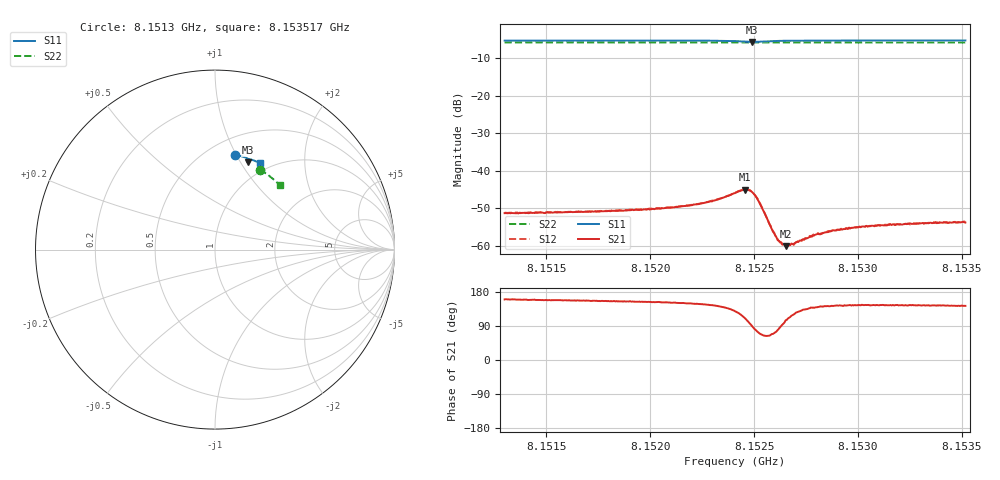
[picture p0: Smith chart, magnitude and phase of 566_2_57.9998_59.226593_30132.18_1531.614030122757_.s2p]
#  HZ  S  RI  R  50.00
! Rohde & Schwarz Vector Network Analyzer
! Rohde-Schwarz,ZNB20-2Port,1311601062101988,3.16
! Created: UTC 3/21/2024, 1:15:43 AM
! freq[Hz]  re:S11  im:S11  re:S21  im:S21  re:S12  im:S12  re:S22  im:S22
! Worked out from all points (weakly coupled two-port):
!   401 points, 8.1513 GHz to 8.153517 GHz, reference 50 ohm
!   highest |S21| = -45.00 dB at 8.152458 GHz (marker M1); lowest = -60.0 dB at 8.152652 GHz (marker M2)
!   lowest |S11| = -5.7 dB at 8.152492 GHz (marker M3), VSWR 3.16, Z = 40.4 + j53.7 ohm
!   |S11| at or under -10 dB: nowhere
!   |S22| runs from -5.9 to -5.8 dB; largest |S21 - S12| = 0.00014
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8.1513003e9  0.1107 0.5282  -0.00257 0.000943  -0.00259 0.000985  0.2503 0.446
8.1516715e9  0.1365 0.5228  -0.00263 0.00113  -0.00264 0.00117  0.2705 0.4334
8.1520428e9  0.1626 0.5155  -0.00282 0.00143  -0.00281 0.00152  0.2902 0.42
8.1522422e9  0.178 0.5096  -0.0031 0.00196  -0.00308 0.00202  0.3003 0.4123
8.1523364e9  0.1859 0.5047  -0.00333 0.00266  -0.00333 0.00271  0.3052 0.4085
8.1524085e9  0.1913 0.497  -0.00318 0.00394  -0.00317 0.00403  0.3086 0.4054
8.1524583e9  0.1895 0.4881  -0.00186 0.00531  -0.00179 0.00538  0.3108 0.4032
8.152475e9  0.1861 0.4862  -0.000893 0.00547  -0.000849 0.00556  0.3114 0.4025
8.1524916e9  0.1823 0.4862  0.000116 0.0052  0.000176 0.00524  0.312 0.4021
8.1525082e9  0.1788 0.4884  0.000862 0.0045  0.000932 0.00453  0.3129 0.4016
8.1525248e9  0.1774 0.4918  0.00125 0.00362  0.00131 0.00364  0.3135 0.401
8.1525802e9  0.1815 0.5004  0.000724 0.00165  0.000796 0.00167  0.3166 0.399
8.1526024e9  0.1844 0.502  0.000395 0.00132  0.000377 0.00133  0.3178 0.3983
8.1526246e9  0.1871 0.5026  8.37e-05 0.00114  9.84e-05 0.00112  0.3189 0.3974
8.1526412e9  0.189 0.5028  -0.000106 0.00105  -0.000113 0.00104  0.3197 0.3969
8.1526523e9  0.1903 0.5029  -0.000259 0.000969  -0.000184 0.00098  0.3202 0.3963
8.15268e9  0.1932 0.5028  -0.00049 0.000966  -0.000478 0.000963  0.3217 0.3951
8.1527797e9  0.2021 0.5012  -0.000997 0.000898  -0.00103 0.000925  0.3267 0.391
8.1528905e9  0.2108 0.4985  -0.00129 0.000961  -0.00129 0.000988  0.332 0.3863
8.1530291e9  0.2207 0.495  -0.00149 0.00105  -0.00149 0.00107  0.3383 0.3804
8.153151e9  0.2288 0.4915  -0.00155 0.00112  -0.00158 0.00117  0.344 0.3749
8.1535167e9  0.2524 0.4806  -0.00164 0.00124  -0.00166 0.00127  0.3606 0.3586
